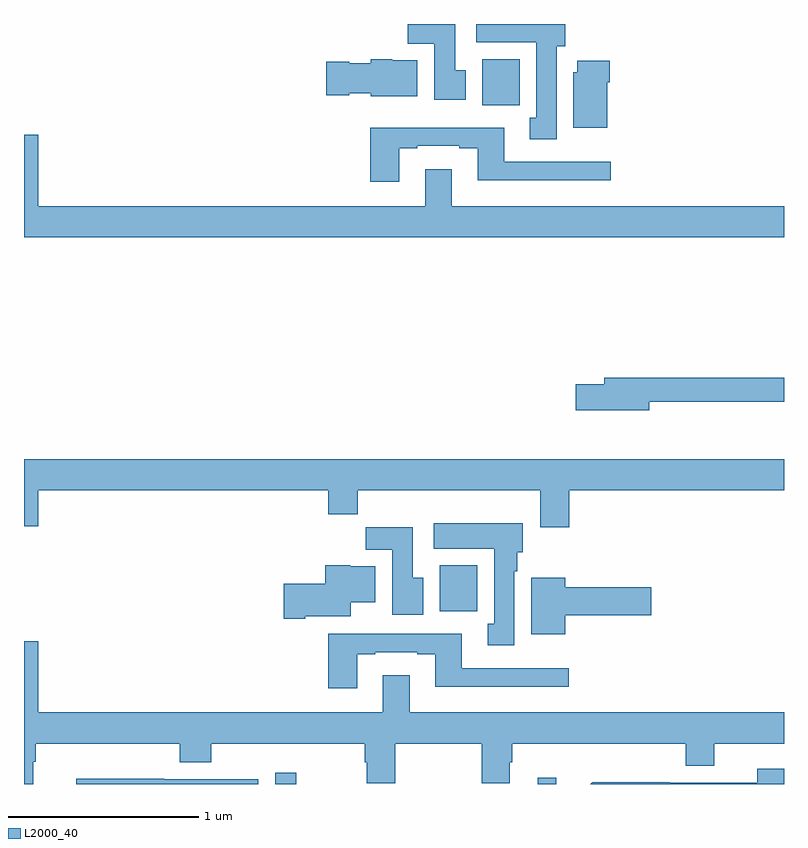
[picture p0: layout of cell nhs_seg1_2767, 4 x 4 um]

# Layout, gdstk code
import gdstk
lib = gdstk.Library(unit=1e-6, precision=1e-09)
def R(c, l, rs):  # rectangles x0, y0, x1, y1
    for r in rs: c.add(gdstk.rectangle(r[:2], r[2:], *l))
def P(c, l, *ps):  # polygons
    for p in ps: c.add(gdstk.Polygon(p, *l))
L2000_40 = (2000, 40)

nhs_seg1_2767 = lib.new_cell('nhs_seg1_2767')
R(nhs_seg1_2767, L2000_40, [(262.323,538.199,262.432,538.258), (263.705,538.199,263.802,538.231), (263.189,539.108,263.386,539.35), (263.411,541.772,263.608,542.014)])
P(nhs_seg1_2767, L2000_40, [(263.326,541.956),(263.269,541.956),(263.269,542.199),(263.02,542.199),(263.02,542.096),(263.159,542.096),(263.159,541.8),(263.326,541.8)],
  [(263.803,542.082),(263.848,542.082),(263.848,542.199),(263.379,542.199),(263.379,542.102),(263.696,542.102),(263.696,541.706),(263.663,541.706),(263.663,541.593),(263.803,541.593)],
  [(263.071,542.008),(262.938,542.008),(262.938,542.014),(262.824,542.014),(262.824,541.993),(262.713,541.993),(262.713,542.001),(262.59,542.001),(262.59,541.823),(262.713,541.823),(262.713,541.835),(262.824,541.835),(262.824,541.82),(263.071,541.82)],
  [(264.07,541.892),(264.083,541.892),(264.083,542.005),(263.912,542.005),(263.912,541.944),(263.891,541.944),(263.891,541.652),(264.07,541.652)],
  [(262.975,541.545),(263.071,541.545),(263.071,541.557),(263.291,541.557),(263.291,541.545),(263.387,541.545),(263.387,541.376),(264.088,541.376),(264.088,541.473),(263.527,541.473),(263.527,541.654),(262.823,541.654),(262.823,541.368),(262.975,541.368)],
  [(265,541.24),(263.251,541.24),(263.251,541.435),(263.111,541.435),(263.111,541.24),(261.076,541.24),(261.076,541.615),(261,541.615),(261,541.076),(265,541.076)],
  [(264.292,540.21),(265,540.21),(265,540.338),(264.053,540.338),(264.053,540.302),(263.904,540.302),(263.904,540.167),(264.292,540.167)],
  [(261,539.556),(261.076,539.556),(261.076,539.744),(262.601,539.744),(262.601,539.62),(262.757,539.62),(262.757,539.744),(263.717,539.744),(263.717,539.55),(263.87,539.55),(263.87,539.744),(265,539.744),(265,539.908),(261,539.908)],
  [(263.581,539.318),(263.596,539.318),(263.596,539.418),(263.626,539.418),(263.626,539.572),(263.157,539.572),(263.157,539.438),(263.474,539.438),(263.474,539.042),(263.441,539.042),(263.441,538.929),(263.581,538.929)],
  [(263.101,539.284),(263.047,539.284),(263.047,539.551),(262.798,539.551),(262.798,539.432),(262.937,539.432),(262.937,539.091),(263.101,539.091)],
  [(262.48,539.081),(262.72,539.081),(262.72,539.156),(262.849,539.156),(262.849,539.344),(262.716,539.344),(262.716,539.35),(262.586,539.35),(262.586,539.252),(262.368,539.252),(262.368,539.069),(262.48,539.069)],
  [(263.848,539.087),(264.301,539.087),(264.301,539.234),(263.848,539.234),(263.848,539.284),(263.669,539.284),(263.669,538.988),(263.848,538.988)],
  [(262.753,538.881),(262.849,538.881),(262.849,538.893),(263.069,538.893),(263.069,538.881),(263.165,538.881),(263.165,538.712),(263.866,538.712),(263.866,538.809),(263.305,538.809),(263.305,538.989),(262.601,538.989),(262.601,538.704),(262.753,538.704)],
  [(261.049,538.316),(261.062,538.316),(261.062,538.412),(261.821,538.412),(261.821,538.313),(261.986,538.313),(261.986,538.412),(262.793,538.412),(262.793,538.314),(262.805,538.314),(262.805,538.204),(262.953,538.204),(262.953,538.412),(263.41,538.412),(263.41,538.204),(263.557,538.204),(263.557,538.314),(263.57,538.314),(263.57,538.412),(264.482,538.412),(264.482,538.295),(264.634,538.295),(264.634,538.412),(265,538.412),(265,538.576),(263.029,538.576),(263.029,538.771),(262.889,538.771),(262.889,538.576),(261.076,538.576),(261.076,538.951),(261,538.951),(261,538.199),(261.049,538.199)],
  [(265,538.279),(264.858,538.279),(264.858,538.206),(264.398,538.206),(264.398,538.208),(263.99,538.208),(263.981,538.199),(265,538.199)],
  [(262.233,538.224),(261.737,538.224),(261.737,538.226),(261.274,538.226),(261.274,538.199),(262.233,538.199)])

lib.write_gds('nhs_seg1_2767.gds')
